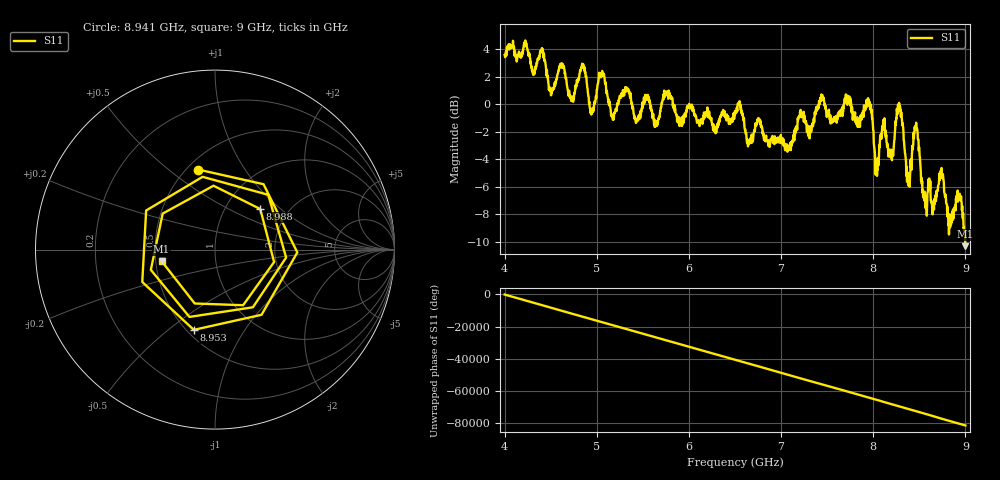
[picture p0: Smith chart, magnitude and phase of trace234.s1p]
! Created with skrf 1.8.0 (http://scikit-rf.org).
# Hz S RI R 50.0
!freq ReS11 ImS11
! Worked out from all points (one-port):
!   1601 points, 4 GHz to 9 GHz, reference 50 ohm
!   lowest |S11| = -10.3 dB at 9 GHz (marker M1), VSWR 1.88, Z = 26.9 - j3.83 ohm
!   |S11| at or under -10 dB: 8.997825 GHz to end of sweep
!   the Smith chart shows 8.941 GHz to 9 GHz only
!   S11 on the Smith chart (normalised r, x): 8.941 GHz: 0.57, +0.64; 8.953 GHz: 0.54, -0.62; 8.988 GHz: 1.45, +0.74; 9 GHz: 0.54, -0.08
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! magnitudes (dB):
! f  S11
! 4 GHz  3.6
! 4.403 GHz  4.0
! 4.506 GHz  0.7
! 4.625 GHz  3.0
! 4.728 GHz  0.4
! 4.853 GHz  2.9
! 4.944 GHz  -0.7
! 5.05 GHz  2.3
! 5.172 GHz  -0.8
! 5.25 GHz  0.6
! 5.875 GHz  -0.9
! 6.5 GHz  -0.5
! 7.125 GHz  -2.7
! 7.75 GHz  0.5
! 7.95 GHz  0.3
! 8.038 GHz  -4.7
! 8.106 GHz  -1.7
! 8.2 GHz  -4.0
! 8.281 GHz  0.1
! 8.375 GHz  -5.3
! 8.462 GHz  -1.7
! 8.559 GHz  -6.4
! 8.741 GHz  -4.6
! 8.828 GHz  -8.8
! 8.941 GHz  -6.8
! 8.953 GHz  -6.7
! 8.988 GHz  -9.4
! 9 GHz  -10.3
